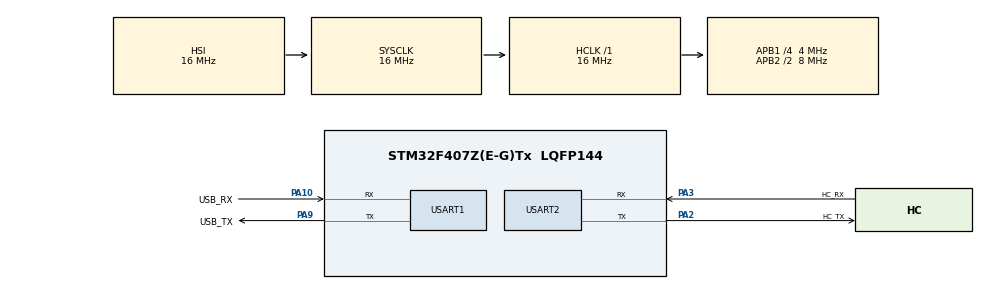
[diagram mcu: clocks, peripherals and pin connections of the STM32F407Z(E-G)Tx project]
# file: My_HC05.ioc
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Dma.Request0=USART2_TX
Dma.Request1=USART2_RX
Dma.USART2_RX.1.Direction=DMA_PERIPH_TO_MEMORY
Dma.USART2_RX.1.FIFOMode=DMA_FIFOMODE_DISABLE
Dma.USART2_RX.1.Instance=DMA1_Stream5
Dma.USART2_RX.1.MemDataAlignment=DMA_MDATAALIGN_BYTE
Dma.USART2_RX.1.MemInc=DMA_MINC_ENABLE
Dma.USART2_RX.1.Mode=DMA_CIRCULAR
Dma.USART2_RX.1.PeriphDataAlignment=DMA_PDATAALIGN_BYTE
Dma.USART2_RX.1.PeriphInc=DMA_PINC_DISABLE
Dma.USART2_RX.1.Priority=DMA_PRIORITY_LOW
Dma.USART2_TX.0.Direction=DMA_MEMORY_TO_PERIPH
Dma.USART2_TX.0.FIFOMode=DMA_FIFOMODE_DISABLE
Dma.USART2_TX.0.Instance=DMA1_Stream6
Dma.USART2_TX.0.MemDataAlignment=DMA_MDATAALIGN_BYTE
Dma.USART2_TX.0.MemInc=DMA_MINC_ENABLE
Dma.USART2_TX.0.Mode=DMA_NORMAL
Dma.USART2_TX.0.PeriphDataAlignment=DMA_PDATAALIGN_BYTE
Dma.USART2_TX.0.PeriphInc=DMA_PINC_DISABLE
Dma.USART2_TX.0.Priority=DMA_PRIORITY_LOW
Mcu.Family=STM32F4
Mcu.Name=STM32F407Z(E-G)Tx
Mcu.Package=LQFP144
NVIC.DMA1_Stream5_IRQn=true\:0\:0\:false\:false\:true\:false\:true
NVIC.DMA1_Stream6_IRQn=true\:0\:0\:false\:false\:true\:false\:true
NVIC.PriorityGroup=NVIC_PRIORITYGROUP_4
NVIC.USART1_IRQn=true\:0\:0\:false\:false\:true\:true\:true
NVIC.USART2_IRQn=true\:0\:0\:false\:false\:true\:true\:true
PA10.GPIO_Label=USB_RX
PA10.Mode=Asynchronous
PA10.Signal=USART1_RX
PA2.GPIO_Label=HC_TX
PA2.Mode=Asynchronous
PA2.Signal=USART2_TX
PA3.GPIO_Label=HC_RX
PA3.Mode=Asynchronous
PA3.Signal=USART2_RX
PA9.GPIO_Label=USB_TX
PA9.Mode=Asynchronous
PA9.Signal=USART1_TX
PH0-OSC_IN.Mode=HSE-External-Oscillator
PH0-OSC_IN.Signal=RCC_OSC_IN
PH1-OSC_OUT.Mode=HSE-External-Oscillator
PH1-OSC_OUT.Signal=RCC_OSC_OUT
ProjectManager.HeapSize=0x200
ProjectManager.StackSize=0x400
ProjectManager.TargetToolchain=SW4STM32
RCC.48MHZClocksFreq_Value=84000000
RCC.AHBFreq_Value=16000000
RCC.APB1CLKDivider=RCC_HCLK_DIV4
RCC.APB1Freq_Value=4000000
RCC.APB1TimFreq_Value=8000000
RCC.APB2CLKDivider=RCC_HCLK_DIV2
RCC.APB2Freq_Value=8000000
RCC.APB2TimFreq_Value=16000000
RCC.CortexFreq_Value=16000000
RCC.HCLKFreq_Value=16000000
RCC.HSE_VALUE=8000000
RCC.HSI_VALUE=16000000
RCC.LSE_VALUE=32768
RCC.PLLM=8
RCC.PLLN=168
RCC.SYSCLKFreq_VALUE=16000000
RCC.VCOOutputFreq_Value=336000000
USART1.VirtualMode=VM_ASYNC
USART2.VirtualMode=VM_ASYNC
board=custom

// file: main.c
/* USER CODE BEGIN Header */
/**
  ******************************************************************************
  * @file           : main.c
  * @brief          : Main program body
  ******************************************************************************
  * @attention
  *
  * <h2><center>&copy; Copyright (c) 2021 STMicroelectronics.
  * All rights reserved.</center></h2>
  *
  * This software component is licensed by ST under BSD 3-Clause license,
  * the "License"; You may not use this file except in compliance with the
  * License. You may obtain a copy of the License at:
  *                        opensource.org/licenses/BSD-3-Clause
  *
  ******************************************************************************
  */
/* USER CODE END Header */
#include "main.h"
#include "dma.h"
#include "usart.h"
#include "gpio.h"

/* USER CODE BEGIN Includes */
#include "hc05.h"
#include "math.h"
/* USER CODE END Includes */

/* USER CODE BEGIN PTD */
TxPack txpack;
RxPack rxpack;
/* USER CODE END PTD */

void SystemClock_Config(void);

int main(void)
{
  /* USER CODE BEGIN 1 */
    int i=0;

  /* USER CODE END 1 */

  /* MCU Configuration--------------------------------------------------------*/

  /* Reset of all peripherals, Initializes the Flash interface and the Systick. */
  HAL_Init();

  /* Configure the system clock */
  SystemClock_Config();

  /* Initialize all configured peripherals */
  MX_GPIO_Init();
  MX_DMA_Init();
  MX_USART1_UART_Init();
  MX_USART2_UART_Init();
  /* USER CODE BEGIN 2 */
//  readValuePack(&rxpack);
  /* USER CODE END 2 */

  /* Infinite loop */
  /* USER CODE BEGIN WHILE */
#pragma clang diagnostic push
#pragma ide diagnostic ignored "EndlessLoop"
  while (1)
  {
      i++;
      txpack.bools[0] = 0;
      txpack.bytes[0] = 0;
      txpack.shorts[0] = 0;
      txpack.floats[0] = 0;
      txpack.integers[1] = 50*sin(i);                 //测试
      txpack.integers[0] = i;
      sendValuePack(&txpack);

      if(i>=100)
      {
          i=0;
      }
      HAL_Delay(1000);
//      HAL_UART_Receive_IT(&huart2, &uartByte, 1);
//      if(readValuePack(&rxpack))
//      {
//          // 在此读取手机传来的数�?
//          // 这里是将接收的数据原样回�?
//          txpack.bools[0] = rxpack.bools[0];
//          txpack.bytes[0] = rxpack.bytes[0];
//          txpack.shorts[0] = rxpack.shorts[0];
//          txpack.floats[0] = rxpack.floats[0];
//
//
//          // 你也可以 sendValuePack放在这，这样就只有当接收到手机传来的数据包后才回传数�?
//      }
    /* USER CODE END WHILE */

    /* USER CODE BEGIN 3 */
  }
#pragma clang diagnostic pop
  /* USER CODE END 3 */
}

void SystemClock_Config(void)
{
  RCC_OscInitTypeDef RCC_OscInitStruct = {0};
  RCC_ClkInitTypeDef RCC_ClkInitStruct = {0};

  /** Configure the main internal regulator output voltage
  */
  __HAL_RCC_PWR_CLK_ENABLE();
  __HAL_PWR_VOLTAGESCALING_CONFIG(PWR_REGULATOR_VOLTAGE_SCALE1);
  /** Initializes the RCC Oscillators according to the specified parameters
  * in the RCC_OscInitTypeDef structure.
  */
  RCC_OscInitStruct.OscillatorType = RCC_OSCILLATORTYPE_HSI;
  RCC_OscInitStruct.HSIState = RCC_HSI_ON;
  RCC_OscInitStruct.HSICalibrationValue = RCC_HSICALIBRATION_DEFAULT;
  RCC_OscInitStruct.PLL.PLLState = RCC_PLL_NONE;
  if (HAL_RCC_OscConfig(&RCC_OscInitStruct) != HAL_OK)
  {
    Error_Handler();
  }
  /** Initializes the CPU, AHB and APB buses clocks
  */
  RCC_ClkInitStruct.ClockType = RCC_CLOCKTYPE_HCLK|RCC_CLOCKTYPE_SYSCLK
                              |RCC_CLOCKTYPE_PCLK1|RCC_CLOCKTYPE_PCLK2;
  RCC_ClkInitStruct.SYSCLKSource = RCC_SYSCLKSOURCE_HSI;
  RCC_ClkInitStruct.AHBCLKDivider = RCC_SYSCLK_DIV1;
  RCC_ClkInitStruct.APB1CLKDivider = RCC_HCLK_DIV4;
  RCC_ClkInitStruct.APB2CLKDivider = RCC_HCLK_DIV2;

  if (HAL_RCC_ClockConfig(&RCC_ClkInitStruct, FLASH_LATENCY_0) != HAL_OK)
  {
    Error_Handler();
  }
}

void Error_Handler(void)
{
  __disable_irq();
  while (1)
  {
  }
}

/************************ (C) COPYRIGHT STMicroelectronics *****END OF FILE****/
